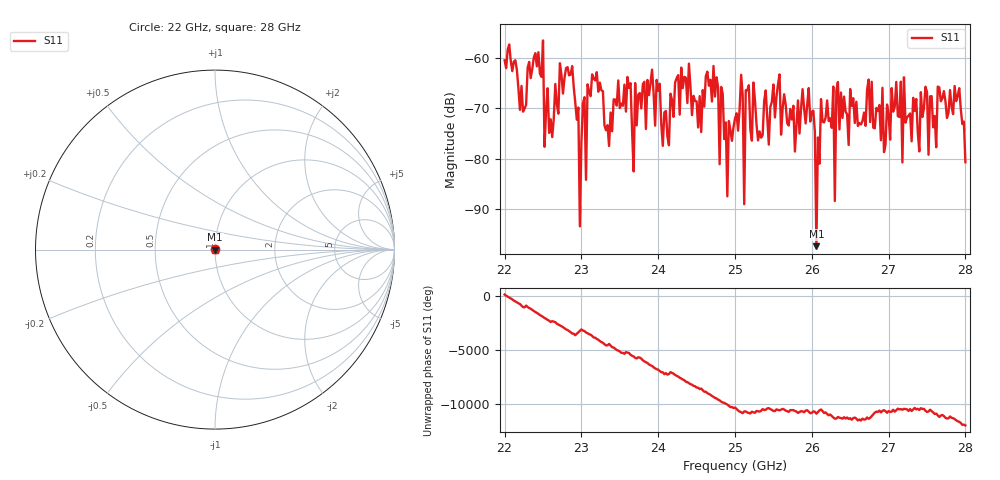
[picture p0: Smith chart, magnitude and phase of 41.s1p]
#  HZ  S  RI  R  50.00
! Rohde & Schwarz ZVA40 4Ports - Version 3.90 - 1145.1110k42 SN: 100403
! Date: 2023-10-04 09:23:30
! Measurement: S12
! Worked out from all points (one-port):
!   301 points, 22 GHz to 28 GHz, reference 50 ohm
!   lowest |S11| = -97.3 dB at 26.06 GHz (marker M1), VSWR 1.00, Z = 50 - j0.00137 ohm
!   |S11| at or under -10 dB: start of sweep to end of sweep
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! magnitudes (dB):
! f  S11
! 22 GHz  -60.5
! 22.24 GHz  -70.7
! 22.5 GHz  -56.6
! 22.52 GHz  -77.6
! 22.76 GHz  -67.1
! 22.88 GHz  -61.6
! 22.98 GHz  -93.3
! 23.14 GHz  -63.3
! 23.5 GHz  -69.9
! 23.64 GHz  -65.0
! 23.68 GHz  -82.5
! 23.7 GHz  -65.0
! 23.84 GHz  -74.1
! 23.92 GHz  -62.3
! 24.14 GHz  -77.3
! 24.26 GHz  -63.4
! 25 GHz  -72.0
! 25.76 GHz  -69.5
! 25.96 GHz  -66.0
! 26.06 GHz  -97.3
! 26.28 GHz  -65.7
! 26.3 GHz  -88.3
! 26.34 GHz  -64.8
! 26.48 GHz  -77.2
! 26.5 GHz  -66.2
! 27.26 GHz  -71.4
! 27.92 GHz  -66.0
! 28 GHz  -80.6
